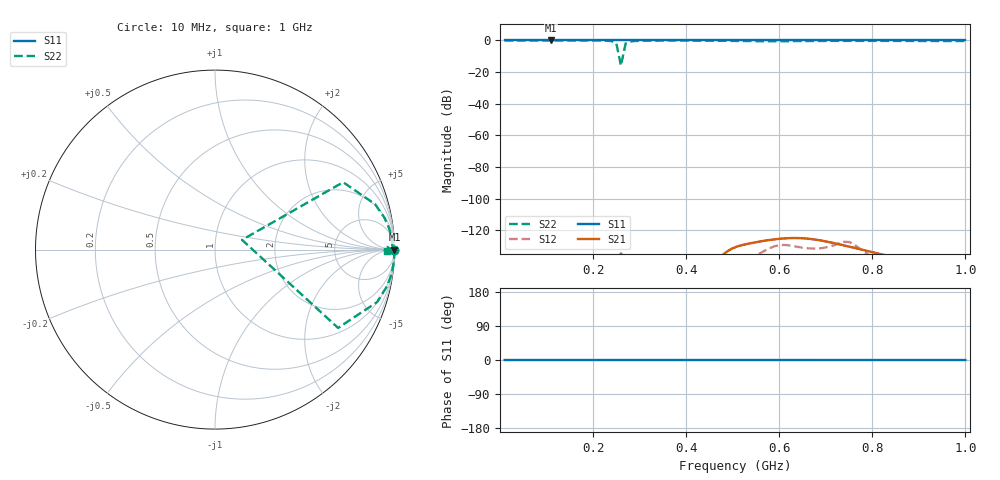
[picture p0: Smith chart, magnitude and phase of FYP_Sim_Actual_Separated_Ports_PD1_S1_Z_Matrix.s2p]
! Touchstone file from project FYP_Sim_Actual_Separated_Ports
! Exported from HFSS 13.0.2
# GHZ Z MA R 50.000000
! Terminal data exported
! Port[1] = PD1_Void_Port_T1
! Port[2] = Radiating_Plate_T1
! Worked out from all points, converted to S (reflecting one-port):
!   100 points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, 10 MHz to 1 GHz, reference 50 ohm
!   lowest |S11| = 0.0 dB at 110 MHz (marker M1)
!   phase of S11 starts at -0 deg and turns -0 deg over the sweep
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0.01  4.27e+05 -90.0  0.005166 107.1  0.0002553 -29.2  789.9 -89.2
0.11  3.9e+04 -90.0  0.0004924 114.6  0.0007627 75.6  62.69 -89.1
0.18  2.377e+04 -90.0  0.002485 -155.8  0.002339 -170.2  26.29 -88.4
0.21  2.036e+04 -90.0  0.002875 -131.9  0.002862 -132.8  15.78 -87.0
0.22  1.943e+04 -90.0  0.003008 -121.4  0.003046 -118.8  12.54 -86.0
0.23  1.858e+04 -90.0  0.00315 -108.9  0.003226 -103.7  9.365 -84.2
0.24  1.781e+04 -90.0  0.003299 -94.0  0.003388 -87.4  6.252 -80.4
0.25  1.709e+04 -90.0  0.00344 -76.0  0.003513 -69.8  3.239 -68.8
0.26  1.644e+04 -90.0  0.003541 -54.7  0.003576 -50.9  1.353 6.3
0.27  1.583e+04 -90.0  0.003555 -30.4  0.003561 -31.0  3.719 65.1
0.28  1.526e+04 -90.0  0.003459 -4.7  0.003465 -10.5  6.935 74.5
0.29  1.473e+04 -90.0  0.003285 20.4  0.00331 10.3  10.36 77.6
0.3  1.424e+04 -90.0  0.003095 43.0  0.003126 31.3  13.99 78.8
0.31  1.378e+04 -90.0  0.002932 62.4  0.002948 52.5  17.86 79.2
0.34  1.256e+04 -90.0  0.002623 99.9  0.002739 118.3  31.7 77.6
0.41  1.042e+04 -90.0  0.005797 5.4  0.01042 -91.2  95.43 49.6
0.51  8372 -90.0  0.06936 -154.1  0.01795 74.2  52.52 -21.0
0.58  7361 -90.0  0.06654 167.6  0.03677 176.3  35.3 1.0
0.62  6885 -90.0  0.0766 153.9  0.04551 -106.2  38.31 14.6
0.67  6370 -90.0  0.08316 132.0  0.04191 -47.5  48.43 20.6
0.84  5076 -90.0  0.02345 105.0  0.0118 136.9  60.93 -7.8
1  4264 -90.0  0.004823 104.9  0.002059 168.1  46.24 -7.4
